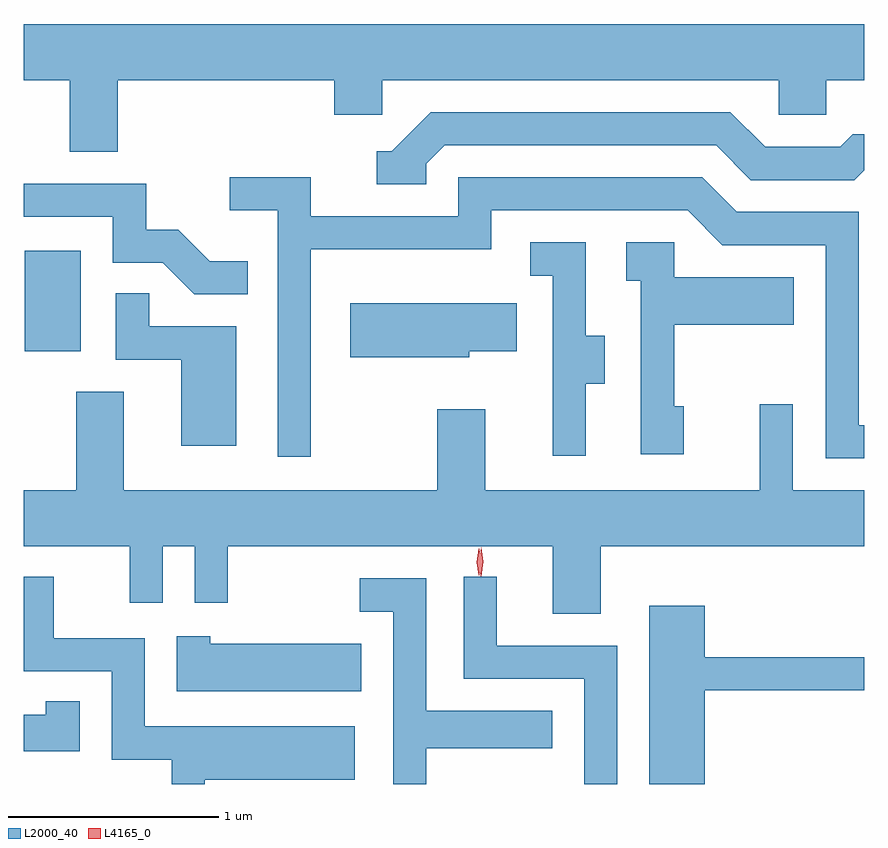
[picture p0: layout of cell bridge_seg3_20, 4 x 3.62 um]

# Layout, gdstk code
import gdstk
lib = gdstk.Library(unit=1e-6, precision=1e-09)
def R(c, l, rs):  # rectangles x0, y0, x1, y1
    for r in rs: c.add(gdstk.rectangle(r[:2], r[2:], *l))
def P(c, l, *ps):  # polygons
    for p in ps: c.add(gdstk.Polygon(p, *l))
L2000_40 = (2000, 40)
L4165_0 = (4165, 0)

bridge_seg3_20 = lib.new_cell('bridge_seg3_20')
R(bridge_seg3_20, L2000_40, [(1423.646,1211.306,1423.914,1211.784)])
P(bridge_seg3_20, L2000_40, [(1424.089,1212.596),(1425.121,1212.596),(1425.121,1212.431),(1425.349,1212.431),(1425.349,1212.596),(1427.236,1212.596),(1427.236,1212.431),(1427.464,1212.431),(1427.464,1212.596),(1427.643,1212.596),(1427.643,1212.864),(1423.643,1212.864),(1423.643,1212.596),(1423.861,1212.596),(1423.861,1212.256),(1424.089,1212.256)],
  [(1425.559,1212.199),(1425.647,1212.286),(1426.939,1212.286),(1427.104,1212.121),(1427.597,1212.121),(1427.643,1212.167),(1427.643,1212.339),(1427.589,1212.339),(1427.529,1212.279),(1427.172,1212.279),(1427.007,1212.444),(1425.579,1212.444),(1425.394,1212.259),(1425.323,1212.259),(1425.323,1212.101),(1425.559,1212.101)],
  [(1427.643,1210.954),(1427.619,1210.954),(1427.619,1211.969),(1427.037,1211.969),(1426.872,1212.134),(1425.711,1212.134),(1425.711,1211.949),(1425.009,1211.949),(1425.009,1212.134),(1424.623,1212.134),(1424.623,1211.976),(1424.851,1211.976),(1424.851,1210.803),(1425.009,1210.803),(1425.009,1211.791),(1425.869,1211.791),(1425.869,1211.976),(1426.804,1211.976),(1426.969,1211.811),(1427.461,1211.811),(1427.461,1210.796),(1427.643,1210.796)],
  [(1424.708,1211.734),(1424.527,1211.734),(1424.377,1211.884),(1424.224,1211.884),(1424.224,1212.104),(1423.643,1212.104),(1423.643,1211.946),(1424.066,1211.946),(1424.066,1211.726),(1424.304,1211.726),(1424.454,1211.576),(1424.708,1211.576)],
  [(1426.319,1211.151),(1426.409,1211.151),(1426.409,1211.379),(1426.319,1211.379),(1426.319,1211.824),(1426.053,1211.824),(1426.053,1211.666),(1426.161,1211.666),(1426.161,1210.808),(1426.319,1210.808)],
  [(1426.784,1211.044),(1426.739,1211.044),(1426.739,1211.431),(1427.309,1211.431),(1427.309,1211.659),(1426.739,1211.659),(1426.739,1211.824),(1426.511,1211.824),(1426.511,1211.641),(1426.581,1211.641),(1426.581,1210.816),(1426.784,1210.816)],
  [(1424.654,1211.424),(1424.239,1211.424),(1424.239,1211.583),(1424.081,1211.583),(1424.081,1211.266),(1424.391,1211.266),(1424.391,1210.856),(1424.654,1210.856)],
  [(1425.764,1211.306),(1425.989,1211.306),(1425.989,1211.534),(1425.196,1211.534),(1425.196,1211.276),(1425.764,1211.276)],
  [(1425.611,1211.029),(1425.611,1210.644),(1424.119,1210.644),(1424.119,1211.114),(1423.891,1211.114),(1423.891,1210.644),(1423.643,1210.644),(1423.643,1210.376),(1424.146,1210.376),(1424.146,1210.108),(1424.304,1210.108),(1424.304,1210.376),(1424.456,1210.376),(1424.456,1210.108),(1424.614,1210.108),(1424.614,1210.376),(1426.161,1210.376),(1426.161,1210.056),(1426.389,1210.056),(1426.389,1210.376),(1427.643,1210.376),(1427.643,1210.644),(1427.304,1210.644),(1427.304,1211.053),(1427.146,1211.053),(1427.146,1210.644),(1425.839,1210.644),(1425.839,1211.029)],
  [(1426.469,1209.904),(1425.894,1209.904),(1425.894,1210.233),(1425.736,1210.233),(1425.736,1209.746),(1426.311,1209.746),(1426.311,1209.245),(1426.469,1209.245)],
  [(1424.504,1209.266),(1425.219,1209.266),(1425.219,1209.519),(1424.219,1209.519),(1424.219,1209.939),(1423.784,1209.939),(1423.784,1210.233),(1423.643,1210.233),(1423.643,1209.781),(1424.061,1209.781),(1424.061,1209.361),(1424.346,1209.361),(1424.346,1209.245),(1424.504,1209.245)],
  [(1425.559,1209.416),(1426.159,1209.416),(1426.159,1209.594),(1425.559,1209.594),(1425.559,1210.224),(1425.243,1210.224),(1425.243,1210.066),(1425.401,1210.066),(1425.401,1209.245),(1425.559,1209.245)],
  [(1426.884,1209.691),(1427.643,1209.691),(1427.643,1209.849),(1426.884,1209.849),(1426.884,1210.094),(1426.621,1210.094),(1426.621,1209.245),(1426.884,1209.245)],
  [(1425.249,1209.914),(1424.529,1209.914),(1424.529,1209.949),(1424.371,1209.949),(1424.371,1209.686),(1425.249,1209.686)],
  [(1423.909,1209.638),(1423.746,1209.638),(1423.746,1209.574),(1423.643,1209.574),(1423.643,1209.401),(1423.909,1209.401)])
P(bridge_seg3_20, L4165_0, [(1425.82,1210.234),(1425.819,1210.235),(1425.81,1210.303),(1425.82,1210.371),(1425.82,1210.372),(1425.82,1210.371),(1425.83,1210.303),(1425.82,1210.235)],
  [(1425.809,1210.238),(1425.799,1210.302),(1425.808,1210.365),(1425.809,1210.366),(1425.81,1210.365),(1425.819,1210.302),(1425.81,1210.238),(1425.81,1210.238)])

lib.write_gds('bridge_seg3_20.gds')
